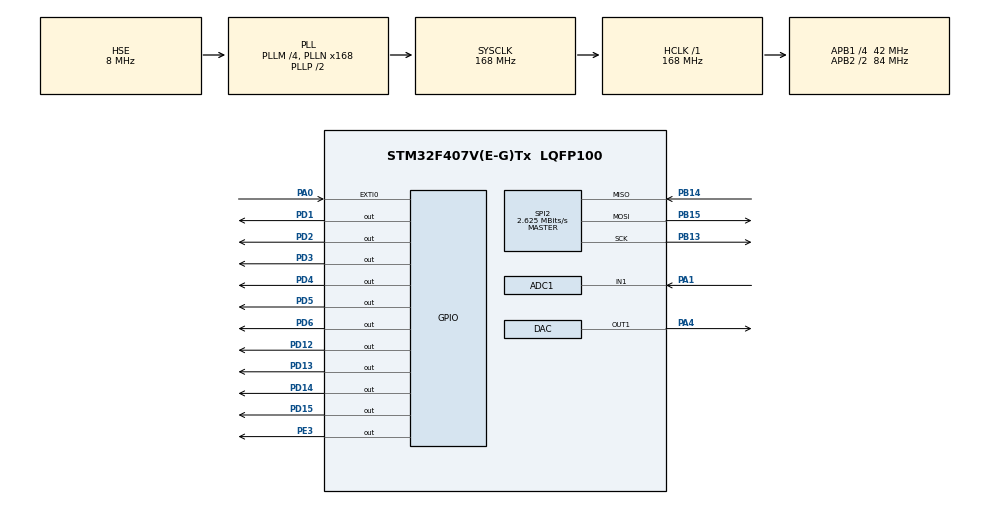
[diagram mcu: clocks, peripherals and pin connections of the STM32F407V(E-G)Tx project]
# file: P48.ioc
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ADC1.Channel-0\#ChannelRegularConversion=ADC_CHANNEL_1
ADC1.NbrOfConversionFlag=1
ADC1.Rank-0\#ChannelRegularConversion=1
ADC1.SamplingTime-0\#ChannelRegularConversion=ADC_SAMPLETIME_3CYCLES
ADC1.master=1
Mcu.Family=STM32F4
Mcu.Name=STM32F407V(E-G)Tx
Mcu.Package=LQFP100
NVIC.EXTI0_IRQn=true\:3\:0\:true\:false\:true\:true\:true
NVIC.PriorityGroup=NVIC_PRIORITYGROUP_4
NVIC.TIM2_IRQn=true\:2\:0\:true\:false\:true\:true\:true
NVIC.TIM3_IRQn=true\:3\:0\:true\:false\:true\:true\:true
NVIC.TIM4_IRQn=true\:1\:0\:true\:false\:true\:true\:true
PA0-WKUP.GPIO_PuPd=GPIO_PULLDOWN
PA0-WKUP.Signal=GPXTI0
PA1.Signal=ADCx_IN1
PA4.Signal=COMP_DAC1_group
PB13.Mode=Full_Duplex_Master
PB13.Signal=SPI2_SCK
PB14.Mode=Full_Duplex_Master
PB14.Signal=SPI2_MISO
PB15.Mode=Full_Duplex_Master
PB15.Signal=SPI2_MOSI
PD1.Signal=GPIO_Output
PD12.Signal=GPIO_Output
PD13.Signal=GPIO_Output
PD14.Signal=GPIO_Output
PD15.Signal=GPIO_Output
PD2.Signal=GPIO_Output
PD3.Signal=GPIO_Output
PD4.Signal=GPIO_Output
PD5.Signal=GPIO_Output
PD6.Signal=GPIO_Output
PE3.Signal=GPIO_Output
PH0-OSC_IN.Mode=HSE-External-Oscillator
PH0-OSC_IN.Signal=RCC_OSC_IN
PH1-OSC_OUT.Mode=HSE-External-Oscillator
PH1-OSC_OUT.Signal=RCC_OSC_OUT
ProjectManager.HeapSize=0x200
ProjectManager.StackSize=0x400
ProjectManager.TargetToolchain=STM32CubeIDE
RCC.48MHZClocksFreq_Value=84000000
RCC.AHBFreq_Value=168000000
RCC.APB1CLKDivider=RCC_HCLK_DIV4
RCC.APB1Freq_Value=42000000
RCC.APB1TimFreq_Value=84000000
RCC.APB2CLKDivider=RCC_HCLK_DIV2
RCC.APB2Freq_Value=84000000
RCC.APB2TimFreq_Value=168000000
RCC.CortexFreq_Value=168000000
RCC.HCLKFreq_Value=168000000
RCC.HSE_VALUE=8000000
RCC.HSI_VALUE=16000000
RCC.LSE_VALUE=32768
RCC.PLLM=4
RCC.PLLN=168
RCC.PLLSourceVirtual=RCC_PLLSOURCE_HSE
RCC.SYSCLKFreq_VALUE=168000000
RCC.SYSCLKSource=RCC_SYSCLKSOURCE_PLLCLK
RCC.VCOOutputFreq_Value=336000000
SH.ADCx_IN1.0=ADC1_IN1,IN1
SH.COMP_DAC1_group.0=DAC_OUT1,DAC_OUT1
SPI2.BaudRatePrescaler=SPI_BAUDRATEPRESCALER_16
SPI2.CalculateBaudRate=2.625 MBits/s
SPI2.Direction=SPI_DIRECTION_2LINES
SPI2.Mode=SPI_MODE_MASTER
SPI2.VirtualType=VM_MASTER
TIM2.Period=839
TIM2.Prescaler=1000
TIM3.AutoReloadPreload=TIM_AUTORELOAD_PRELOAD_DISABLE
TIM3.Period=839
TIM3.Prescaler=1000
TIM4.AutoReloadPreload=TIM_AUTORELOAD_PRELOAD_DISABLE
TIM4.Period=4
TIM4.Prescaler=1049
VP_TIM2_VS_ClockSourceINT.Mode=Internal
VP_TIM3_VS_ClockSourceINT.Mode=Internal
VP_TIM4_VS_ClockSourceINT.Mode=Internal
board=custom

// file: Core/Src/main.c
/* USER CODE BEGIN Header */
/**
  ******************************************************************************
  * @file           : main.c
  * @brief          : Main program body
  ******************************************************************************
  * @attention
  *
  * <h2><center>&copy; Copyright (c) 2020 STMicroelectronics.
  * All rights reserved.</center></h2>
  *
  * This software component is licensed by ST under BSD 3-Clause license,
  * the "License"; You may not use this file except in compliance with the
  * License. You may obtain a copy of the License at:
  *                        opensource.org/licenses/BSD-3-Clause
  *
  ******************************************************************************
  */
/* USER CODE END Header */

#include "main.h"

/* USER CODE BEGIN Includes */
#include "Recorder.h"
#include "lcd.h"
/* USER CODE END Includes */

ADC_HandleTypeDef hadc1;

DAC_HandleTypeDef hdac;

SPI_HandleTypeDef hspi2;

TIM_HandleTypeDef htim2;
TIM_HandleTypeDef htim3;
TIM_HandleTypeDef htim4;

/* USER CODE BEGIN PV */

Recorder recorder;
volatile Lcd_HandleTypeDef lcd;

/* USER CODE END PV */

void SystemClock_Config(void);
static void MX_GPIO_Init(void);
static void MX_TIM4_Init(void);
static void MX_DAC_Init(void);
static void MX_TIM3_Init(void);
static void MX_ADC1_Init(void);
static void MX_SPI2_Init(void);
static void MX_TIM2_Init(void);
/* USER CODE BEGIN PFP */
void HAL_TIM_PeriodElapsedCallback(TIM_HandleTypeDef *htim) {
	if (htim->Instance == TIM3) {
		stopTimer(&htim3);
		onButton(&recorder);
		return;
	}

	onTimerUpdate(&recorder, htim);
}

void HAL_GPIO_EXTI_Callback(uint16_t GPIO_Pin) {
	setTimer(&htim3, 1000, 839);
	startTimer(&htim3);
}
/* USER CODE END PFP */

int main(void)
{

  /* MCU Configuration--------------------------------------------------------*/

  /* Reset of all peripherals, Initializes the Flash interface and the Systick. */
  HAL_Init();

  /* Configure the system clock */
  SystemClock_Config();

  /* Initialize all configured peripherals */
  MX_GPIO_Init();
  MX_TIM4_Init();
  MX_DAC_Init();
  MX_TIM3_Init();
  MX_ADC1_Init();
  MX_SPI2_Init();
  MX_TIM2_Init();

  /* Infinite loop */
  /* USER CODE BEGIN WHILE */
  recorder.soundTimer = &htim4;
  recorder.fileTimer = &htim2;
  recorder.speaker = &hdac;
  recorder.microphone = &hadc1;

  Lcd_PortType dataPorts[] = {
		  GPIOD, GPIOD, GPIOD, GPIOD
  };

  Lcd_PinType dataPins[] = {
		  GPIO_PIN_3, GPIO_PIN_4, GPIO_PIN_5, GPIO_PIN_6
  };

  lcd = Lcd_create(dataPorts, dataPins,
		  GPIOD, GPIO_PIN_1, GPIOD, GPIO_PIN_2,
		  LCD_4_BIT_MODE);

  recorder.lcd = &lcd;
  if (f_mount(&recorder.fatFs, "", 0) == FR_OK) {
		setLcdCursor(&recorder, 1, 0);
		setLcdText(&recorder, "Ok                  ");
		HAL_Delay(2000);
  }
  else {
		setLcdCursor(&recorder, 1, 0);
		setLcdText(&recorder, "Fail                ");
		HAL_Delay(2000);
  }

  changeToStateWaiting(&recorder);

  // fix for first instant, non-delayed PeriodElapsed
  // interrupt that happens for some reasons
  setTimer(&htim3, 1000, 839);
  startTimer(&htim3);
  stopTimer(&htim3);

  stopTimer(&htim4);
  stopTimer(&htim2);

  while (1)
  {
	  onUpdate(&recorder);
    /* USER CODE END WHILE */

  }
}

void SystemClock_Config(void)
{
  RCC_OscInitTypeDef RCC_OscInitStruct = {0};
  RCC_ClkInitTypeDef RCC_ClkInitStruct = {0};

  /** Configure the main internal regulator output voltage
  */
  __HAL_RCC_PWR_CLK_ENABLE();
  __HAL_PWR_VOLTAGESCALING_CONFIG(PWR_REGULATOR_VOLTAGE_SCALE1);
  /** Initializes the CPU, AHB and APB busses clocks
  */
  RCC_OscInitStruct.OscillatorType = RCC_OSCILLATORTYPE_HSE;
  RCC_OscInitStruct.HSEState = RCC_HSE_ON;
  RCC_OscInitStruct.PLL.PLLState = RCC_PLL_ON;
  RCC_OscInitStruct.PLL.PLLSource = RCC_PLLSOURCE_HSE;
  RCC_OscInitStruct.PLL.PLLM = 4;
  RCC_OscInitStruct.PLL.PLLN = 168;
  RCC_OscInitStruct.PLL.PLLP = RCC_PLLP_DIV2;
  RCC_OscInitStruct.PLL.PLLQ = 4;
  if (HAL_RCC_OscConfig(&RCC_OscInitStruct) != HAL_OK)
  {
    Error_Handler();
  }
  /** Initializes the CPU, AHB and APB busses clocks
  */
  RCC_ClkInitStruct.ClockType = RCC_CLOCKTYPE_HCLK|RCC_CLOCKTYPE_SYSCLK
                              |RCC_CLOCKTYPE_PCLK1|RCC_CLOCKTYPE_PCLK2;
  RCC_ClkInitStruct.SYSCLKSource = RCC_SYSCLKSOURCE_PLLCLK;
  RCC_ClkInitStruct.AHBCLKDivider = RCC_SYSCLK_DIV1;
  RCC_ClkInitStruct.APB1CLKDivider = RCC_HCLK_DIV4;
  RCC_ClkInitStruct.APB2CLKDivider = RCC_HCLK_DIV2;

  if (HAL_RCC_ClockConfig(&RCC_ClkInitStruct, FLASH_LATENCY_5) != HAL_OK)
  {
    Error_Handler();
  }
}

static void MX_ADC1_Init(void)
{

  ADC_ChannelConfTypeDef sConfig = {0};

  /** Configure the global features of the ADC (Clock, Resolution, Data Alignment and number of conversion)
  */
  hadc1.Instance = ADC1;
  hadc1.Init.ClockPrescaler = ADC_CLOCK_SYNC_PCLK_DIV4;
  hadc1.Init.Resolution = ADC_RESOLUTION_12B;
  hadc1.Init.ScanConvMode = DISABLE;
  hadc1.Init.ContinuousConvMode = DISABLE;
  hadc1.Init.DiscontinuousConvMode = DISABLE;
  hadc1.Init.ExternalTrigConvEdge = ADC_EXTERNALTRIGCONVEDGE_NONE;
  hadc1.Init.ExternalTrigConv = ADC_SOFTWARE_START;
  hadc1.Init.DataAlign = ADC_DATAALIGN_RIGHT;
  hadc1.Init.NbrOfConversion = 1;
  hadc1.Init.DMAContinuousRequests = DISABLE;
  hadc1.Init.EOCSelection = ADC_EOC_SINGLE_CONV;
  if (HAL_ADC_Init(&hadc1) != HAL_OK)
  {
    Error_Handler();
  }
  /** Configure for the selected ADC regular channel its corresponding rank in the sequencer and its sample time.
  */
  sConfig.Channel = ADC_CHANNEL_1;
  sConfig.Rank = 1;
  sConfig.SamplingTime = ADC_SAMPLETIME_3CYCLES;
  if (HAL_ADC_ConfigChannel(&hadc1, &sConfig) != HAL_OK)
  {
    Error_Handler();
  }

}

static void MX_DAC_Init(void)
{

  DAC_ChannelConfTypeDef sConfig = {0};

  /** DAC Initialization
  */
  hdac.Instance = DAC;
  if (HAL_DAC_Init(&hdac) != HAL_OK)
  {
    Error_Handler();
  }
  /** DAC channel OUT1 config
  */
  sConfig.DAC_Trigger = DAC_TRIGGER_NONE;
  sConfig.DAC_OutputBuffer = DAC_OUTPUTBUFFER_ENABLE;
  if (HAL_DAC_ConfigChannel(&hdac, &sConfig, DAC_CHANNEL_1) != HAL_OK)
  {
    Error_Handler();
  }

}

static void MX_SPI2_Init(void)
{

  /* SPI2 parameter configuration*/
  hspi2.Instance = SPI2;
  hspi2.Init.Mode = SPI_MODE_MASTER;
  hspi2.Init.Direction = SPI_DIRECTION_2LINES;
  hspi2.Init.DataSize = SPI_DATASIZE_8BIT;
  hspi2.Init.CLKPolarity = SPI_POLARITY_LOW;
  hspi2.Init.CLKPhase = SPI_PHASE_1EDGE;
  hspi2.Init.NSS = SPI_NSS_SOFT;
  hspi2.Init.BaudRatePrescaler = SPI_BAUDRATEPRESCALER_16;
  hspi2.Init.FirstBit = SPI_FIRSTBIT_MSB;
  hspi2.Init.TIMode = SPI_TIMODE_DISABLE;
  hspi2.Init.CRCCalculation = SPI_CRCCALCULATION_DISABLE;
  hspi2.Init.CRCPolynomial = 10;
  if (HAL_SPI_Init(&hspi2) != HAL_OK)
  {
    Error_Handler();
  }

}

static void MX_TIM2_Init(void)
{

  TIM_ClockConfigTypeDef sClockSourceConfig = {0};
  TIM_MasterConfigTypeDef sMasterConfig = {0};

  htim2.Instance = TIM2;
  htim2.Init.Prescaler = 1000;
  htim2.Init.CounterMode = TIM_COUNTERMODE_UP;
  htim2.Init.Period = 839;
  htim2.Init.ClockDivision = TIM_CLOCKDIVISION_DIV1;
  htim2.Init.AutoReloadPreload = TIM_AUTORELOAD_PRELOAD_DISABLE;
  if (HAL_TIM_Base_Init(&htim2) != HAL_OK)
  {
    Error_Handler();
  }
  sClockSourceConfig.ClockSource = TIM_CLOCKSOURCE_INTERNAL;
  if (HAL_TIM_ConfigClockSource(&htim2, &sClockSourceConfig) != HAL_OK)
  {
    Error_Handler();
  }
  sMasterConfig.MasterOutputTrigger = TIM_TRGO_RESET;
  sMasterConfig.MasterSlaveMode = TIM_MASTERSLAVEMODE_DISABLE;
  if (HAL_TIMEx_MasterConfigSynchronization(&htim2, &sMasterConfig) != HAL_OK)
  {
    Error_Handler();
  }

}

static void MX_TIM3_Init(void)
{

  TIM_ClockConfigTypeDef sClockSourceConfig = {0};
  TIM_MasterConfigTypeDef sMasterConfig = {0};

  htim3.Instance = TIM3;
  htim3.Init.Prescaler = 1000;
  htim3.Init.CounterMode = TIM_COUNTERMODE_UP;
  htim3.Init.Period = 839;
  htim3.Init.ClockDivision = TIM_CLOCKDIVISION_DIV1;
  htim3.Init.AutoReloadPreload = TIM_AUTORELOAD_PRELOAD_DISABLE;
  if (HAL_TIM_Base_Init(&htim3) != HAL_OK)
  {
    Error_Handler();
  }
  sClockSourceConfig.ClockSource = TIM_CLOCKSOURCE_INTERNAL;
  if (HAL_TIM_ConfigClockSource(&htim3, &sClockSourceConfig) != HAL_OK)
  {
    Error_Handler();
  }
  sMasterConfig.MasterOutputTrigger = TIM_TRGO_RESET;
  sMasterConfig.MasterSlaveMode = TIM_MASTERSLAVEMODE_DISABLE;
  if (HAL_TIMEx_MasterConfigSynchronization(&htim3, &sMasterConfig) != HAL_OK)
  {
    Error_Handler();
  }

}

static void MX_TIM4_Init(void)
{

  TIM_ClockConfigTypeDef sClockSourceConfig = {0};
  TIM_MasterConfigTypeDef sMasterConfig = {0};

  htim4.Instance = TIM4;
  htim4.Init.Prescaler = 1049;
  htim4.Init.CounterMode = TIM_COUNTERMODE_UP;
  htim4.Init.Period = 4;
  htim4.Init.ClockDivision = TIM_CLOCKDIVISION_DIV1;
  htim4.Init.AutoReloadPreload = TIM_AUTORELOAD_PRELOAD_DISABLE;
  if (HAL_TIM_Base_Init(&htim4) != HAL_OK)
  {
    Error_Handler();
  }
  sClockSourceConfig.ClockSource = TIM_CLOCKSOURCE_INTERNAL;
  if (HAL_TIM_ConfigClockSource(&htim4, &sClockSourceConfig) != HAL_OK)
  {
    Error_Handler();
  }
  sMasterConfig.MasterOutputTrigger = TIM_TRGO_RESET;
  sMasterConfig.MasterSlaveMode = TIM_MASTERSLAVEMODE_DISABLE;
  if (HAL_TIMEx_MasterConfigSynchronization(&htim4, &sMasterConfig) != HAL_OK)
  {
    Error_Handler();
  }

}

static void MX_GPIO_Init(void)
{
  GPIO_InitTypeDef GPIO_InitStruct = {0};

  /* GPIO Ports Clock Enable */
  __HAL_RCC_GPIOE_CLK_ENABLE();
  __HAL_RCC_GPIOH_CLK_ENABLE();
  __HAL_RCC_GPIOA_CLK_ENABLE();
  __HAL_RCC_GPIOB_CLK_ENABLE();
  __HAL_RCC_GPIOD_CLK_ENABLE();

  /*Configure GPIO pin Output Level */
  HAL_GPIO_WritePin(GPIOE, GPIO_PIN_3, GPIO_PIN_RESET);

  /*Configure GPIO pin Output Level */
  HAL_GPIO_WritePin(GPIOD, GPIO_PIN_12|GPIO_PIN_13|GPIO_PIN_14|GPIO_PIN_15
                          |GPIO_PIN_1|GPIO_PIN_2|GPIO_PIN_3|GPIO_PIN_4
                          |GPIO_PIN_5|GPIO_PIN_6, GPIO_PIN_RESET);

  /*Configure GPIO pin : PE3 */
  GPIO_InitStruct.Pin = GPIO_PIN_3;
  GPIO_InitStruct.Mode = GPIO_MODE_OUTPUT_PP;
  GPIO_InitStruct.Pull = GPIO_NOPULL;
  GPIO_InitStruct.Speed = GPIO_SPEED_FREQ_LOW;
  HAL_GPIO_Init(GPIOE, &GPIO_InitStruct);

  /*Configure GPIO pin : PA0 */
  GPIO_InitStruct.Pin = GPIO_PIN_0;
  GPIO_InitStruct.Mode = GPIO_MODE_IT_RISING;
  GPIO_InitStruct.Pull = GPIO_PULLDOWN;
  HAL_GPIO_Init(GPIOA, &GPIO_InitStruct);

  /*Configure GPIO pins : PD12 PD13 PD14 PD15
                           PD1 PD2 PD3 PD4
                           PD5 PD6 */
  GPIO_InitStruct.Pin = GPIO_PIN_12|GPIO_PIN_13|GPIO_PIN_14|GPIO_PIN_15
                          |GPIO_PIN_1|GPIO_PIN_2|GPIO_PIN_3|GPIO_PIN_4
                          |GPIO_PIN_5|GPIO_PIN_6;
  GPIO_InitStruct.Mode = GPIO_MODE_OUTPUT_PP;
  GPIO_InitStruct.Pull = GPIO_NOPULL;
  GPIO_InitStruct.Speed = GPIO_SPEED_FREQ_LOW;
  HAL_GPIO_Init(GPIOD, &GPIO_InitStruct);

  /* EXTI interrupt init*/
  HAL_NVIC_SetPriority(EXTI0_IRQn, 3, 0);
  HAL_NVIC_EnableIRQ(EXTI0_IRQn);

}

void Error_Handler(void)
{
}

/************************ (C) COPYRIGHT STMicroelectronics *****END OF FILE****/
